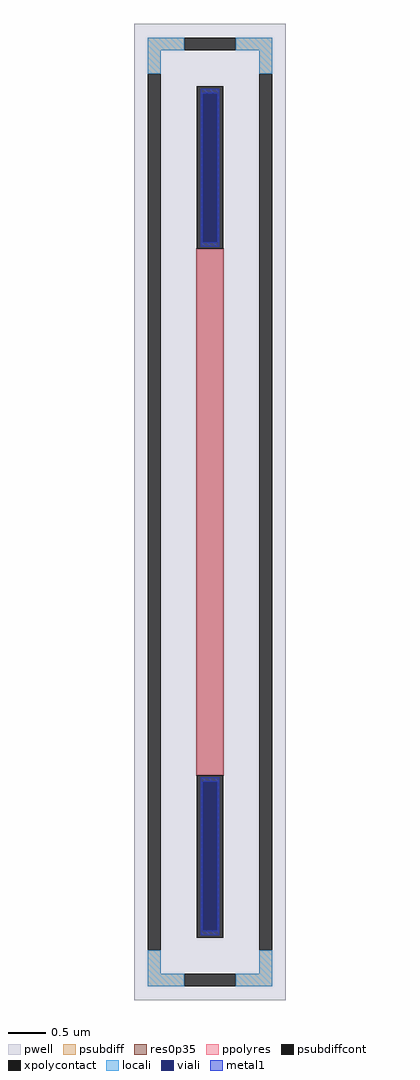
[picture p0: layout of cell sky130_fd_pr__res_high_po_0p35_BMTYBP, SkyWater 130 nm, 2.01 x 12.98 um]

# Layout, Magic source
magic
tech sky130A
magscale 1 2
<< pwell >>
rect -201 -1298 201 1298
<< psubdiff >>
rect -165 1228 -69 1262
rect 69 1228 165 1262
rect -165 1166 -131 1228
rect 131 1166 165 1228
rect -165 -1228 -131 -1166
rect 131 -1228 165 -1166
rect -165 -1262 -69 -1228
rect 69 -1262 165 -1228
<< psubdiffcont >>
rect -69 1228 69 1262
rect -165 -1166 -131 1166
rect 131 -1166 165 1166
rect -69 -1262 69 -1228
<< xpolycontact >>
rect -35 700 35 1132
rect -35 -1132 35 -700
<< ppolyres >>
rect -35 -700 35 700
<< locali >>
rect -165 1228 -69 1262
rect 69 1228 165 1262
rect -165 1166 -131 1228
rect 131 1166 165 1228
rect -165 -1228 -131 -1166
rect 131 -1228 165 -1166
rect -165 -1262 -69 -1228
rect 69 -1262 165 -1228
<< viali >>
rect -19 717 19 1114
rect -19 -1114 19 -717
<< metal1 >>
rect -25 1114 25 1126
rect -25 717 -19 1114
rect 19 717 25 1114
rect -25 705 25 717
rect -25 -717 25 -705
rect -25 -1114 -19 -717
rect 19 -1114 25 -717
rect -25 -1126 25 -1114
<< res0p35 >>
rect -37 -702 37 702
<< properties >>
string FIXED_BBOX -148 -1245 148 1245
string gencell sky130_fd_pr__res_high_po_0p35
string library sky130
string parameters w 0.350 l 7 m 1 nx 1 wmin 0.350 lmin 0.50 rho 319.8 val 6.505k dummy 0 dw 0.0 term 19.188 sterm 0.0 caplen 0 guard 1 glc 1 grc 1 gtc 1 gbc 1 compatible {sky130_fd_pr__res_high_po_0p35  sky130_fd_pr__res_high_po_0p69 sky130_fd_pr__res_high_po_1p41  sky130_fd_pr__res_high_po_2p85 sky130_fd_pr__res_high_po_5p73} full_metal 1 wmax 0.350 vias 1 n_guard 0 hv_guard 0 viagb 0 viagt 0 viagl 0 viagr 0
<< end >>
